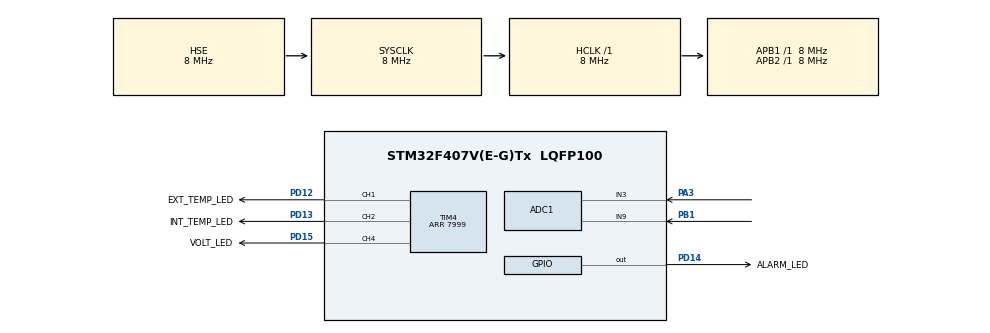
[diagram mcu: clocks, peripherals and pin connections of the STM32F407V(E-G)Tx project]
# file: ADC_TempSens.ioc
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ADC1.Channel-0\#ChannelRegularConversion=ADC_CHANNEL_3
ADC1.Channel-1\#ChannelInjectedConversion=ADC_CHANNEL_3
ADC1.Channel-2\#ChannelInjectedConversion=ADC_CHANNEL_9
ADC1.Channel-3\#ChannelInjectedConversion=ADC_CHANNEL_TEMPSENSOR
ADC1.ContinuousConvMode=ENABLE
ADC1.InjNumberOfConversion=3
ADC1.InjectedConvMode=None
ADC1.InjectedOffset-1\#ChannelInjectedConversion=0
ADC1.InjectedOffset-2\#ChannelInjectedConversion=0
ADC1.InjectedOffset-3\#ChannelInjectedConversion=0
ADC1.InjectedRank-1\#ChannelInjectedConversion=1
ADC1.InjectedRank-2\#ChannelInjectedConversion=2
ADC1.InjectedRank-3\#ChannelInjectedConversion=3
ADC1.NbrOfConversion=1
ADC1.NbrOfConversionFlag=1
ADC1.Rank-0\#ChannelRegularConversion=1
ADC1.SamplingTime-0\#ChannelRegularConversion=ADC_SAMPLETIME_3CYCLES
ADC1.SamplingTime-1\#ChannelInjectedConversion=ADC_SAMPLETIME_480CYCLES
ADC1.SamplingTime-2\#ChannelInjectedConversion=ADC_SAMPLETIME_480CYCLES
ADC1.SamplingTime-3\#ChannelInjectedConversion=ADC_SAMPLETIME_480CYCLES
ADC1.master=1
Mcu.Family=STM32F4
Mcu.Name=STM32F407V(E-G)Tx
Mcu.Package=LQFP100
NVIC.ADC_IRQn=true\:0\:0\:false\:false\:true\:true\:true
NVIC.PriorityGroup=NVIC_PRIORITYGROUP_4
NVIC.TIM1_TRG_COM_TIM11_IRQn=true\:0\:0\:false\:false\:true\:true\:true
NVIC.TIM4_IRQn=true\:0\:0\:false\:false\:true\:true\:true
PA13.Mode=Serial_Wire
PA13.Signal=SYS_JTMS-SWDIO
PA14.Mode=Serial_Wire
PA14.Signal=SYS_JTCK-SWCLK
PA3.Signal=ADCx_IN3
PB1.Signal=ADCx_IN9
PD12.GPIO_Label=EXT_TEMP_LED
PD12.Signal=S_TIM4_CH1
PD13.GPIO_Label=INT_TEMP_LED
PD13.Signal=S_TIM4_CH2
PD14.GPIO_Label=ALARM_LED
PD14.Signal=GPIO_Output
PD15.GPIO_Label=VOLT_LED
PD15.Signal=S_TIM4_CH4
PH0-OSC_IN.Mode=HSE-External-Oscillator
PH0-OSC_IN.Signal=RCC_OSC_IN
PH1-OSC_OUT.Mode=HSE-External-Oscillator
PH1-OSC_OUT.Signal=RCC_OSC_OUT
ProjectManager.HeapSize=0x200
ProjectManager.StackSize=0x400
ProjectManager.TargetToolchain=STM32CubeIDE
RCC.48MHZClocksFreq_Value=24000000
RCC.AHBFreq_Value=8000000
RCC.APB1Freq_Value=8000000
RCC.APB1TimFreq_Value=8000000
RCC.APB2Freq_Value=8000000
RCC.APB2TimFreq_Value=8000000
RCC.CortexFreq_Value=8000000
RCC.HCLKFreq_Value=8000000
RCC.HSE_VALUE=8000000
RCC.HSI_VALUE=16000000
RCC.LSE_VALUE=32768
RCC.PLLSourceVirtual=RCC_PLLSOURCE_HSE
RCC.SYSCLKFreq_VALUE=8000000
RCC.SYSCLKSource=RCC_SYSCLKSOURCE_HSE
RCC.VCOOutputFreq_Value=96000000
SH.ADCx_IN3.0=ADC1_IN3,IN3
SH.ADCx_IN9.0=ADC1_IN9,IN9
SH.S_TIM4_CH1.0=TIM4_CH1,PWM Generation1 CH1
SH.S_TIM4_CH2.0=TIM4_CH2,PWM Generation2 CH2
SH.S_TIM4_CH4.0=TIM4_CH4,PWM Generation4 CH4
TIM11.Period=0
TIM11.Prescaler=3999
TIM4.Channel-PWM\ Generation1\ CH1=TIM_CHANNEL_1
TIM4.Channel-PWM\ Generation2\ CH2=TIM_CHANNEL_2
TIM4.Channel-PWM\ Generation4\ CH4=TIM_CHANNEL_4
TIM4.Period=7999
VP_ADC1_TempSens_Input.Mode=IN-TempSens
VP_TIM11_VS_ClockSourceINT.Mode=Enable_Timer
board=custom

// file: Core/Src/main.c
/* USER CODE BEGIN Header */
/**
  ******************************************************************************
  * @file           : main.c
  * @brief          : Main program body
  ******************************************************************************
  * @attention
  *
  * <h2><center>&copy; Copyright (c) 2021 STMicroelectronics.
  * All rights reserved.</center></h2>
  *
  * This software component is licensed by ST under BSD 3-Clause license,
  * the "License"; You may not use this file except in compliance with the
  * License. You may obtain a copy of the License at:
  *                        opensource.org/licenses/BSD-3-Clause
  *
  ******************************************************************************
  */
/* USER CODE END Header */
#include "main.h"

/* USER CODE BEGIN PD */
#define PWM_FREQ 1000 //Constant frequency for timer 4 PWM Generation
#define CRIT_TEMP 40 //Critical temperature which causes ALARM_LED to blink
#define CRIT_VOLT_PERC 50 //Critical percentage of voltage which causes ALARM_LED to blink
//Variables for internal temperature sensor
#define Avg_Slope .0025
#define V_25 .76
#define VSENSE 3.0/4096

/* USER CODE END PD */

ADC_HandleTypeDef hadc1;

TIM_HandleTypeDef htim4;
TIM_HandleTypeDef htim11;

/* USER CODE BEGIN PV */
int CLOCK = 8000000;
int BLUE_DUTY = 0;
int ORANGE_DUTY = 0;
int GREEN_DUTY = 0;
float EXT_TEMP;
int INT_TEMP;
int ALARM_COUNT = 0;
int VOLT_ALARM = 0;
int EXT_TEMP_ALARM = 0;
int INT_TEMP_ALARM = 0;
uint32_t adcValue1;
uint32_t adcValue2;
uint32_t adcValue3;
/* USER CODE END PV */

void SystemClock_Config(void);
static void MX_GPIO_Init(void);
static void MX_ADC1_Init(void);
static void MX_TIM4_Init(void);
static void MX_TIM11_Init(void);
/* USER CODE BEGIN PFP */
void RecalculateVolt(uint32_t adcValue);
void MeasureExternalTemp(uint32_t adcValue);
void MeasureInternalTemp(uint32_t adcValue);
void CheckAlarm(void);
/* USER CODE END PFP */

int main(void)
{

  /* MCU Configuration--------------------------------------------------------*/

  /* Reset of all peripherals, Initializes the Flash interface and the Systick. */
  HAL_Init();

  /* Configure the system clock */
  SystemClock_Config();

  /* Initialize all configured peripherals */
  MX_GPIO_Init();
  MX_ADC1_Init();
  MX_TIM4_Init();
  MX_TIM11_Init();
  /* USER CODE BEGIN 2 */

  //HAL_TIM_Base_Start_IT(&htim11);

  HAL_TIM_PWM_Start(&htim4, TIM_CHANNEL_1);
  HAL_TIM_PWM_Start(&htim4, TIM_CHANNEL_2);
  HAL_TIM_PWM_Start(&htim4, TIM_CHANNEL_4);
  HAL_ADCEx_InjectedStart_IT(&hadc1);
  /* USER CODE END 2 */

  /* Infinite loop */
  /* USER CODE BEGIN WHILE */
  while (1)
  {
	  CheckAlarm();
	  RecalculateVolt(adcValue1);
	  MeasureInternalTemp(adcValue3);
	  MeasureExternalTemp(adcValue2);
	  HAL_ADCEx_InjectedStart_IT(&hadc1);
    /* USER CODE END WHILE */

  }
}

void SystemClock_Config(void)
{
  RCC_OscInitTypeDef RCC_OscInitStruct = {0};
  RCC_ClkInitTypeDef RCC_ClkInitStruct = {0};

  /** Configure the main internal regulator output voltage
  */
  __HAL_RCC_PWR_CLK_ENABLE();
  __HAL_PWR_VOLTAGESCALING_CONFIG(PWR_REGULATOR_VOLTAGE_SCALE1);
  /** Initializes the RCC Oscillators according to the specified parameters
  * in the RCC_OscInitTypeDef structure.
  */
  RCC_OscInitStruct.OscillatorType = RCC_OSCILLATORTYPE_HSE;
  RCC_OscInitStruct.HSEState = RCC_HSE_ON;
  RCC_OscInitStruct.PLL.PLLState = RCC_PLL_NONE;
  if (HAL_RCC_OscConfig(&RCC_OscInitStruct) != HAL_OK)
  {
    Error_Handler();
  }
  /** Initializes the CPU, AHB and APB buses clocks
  */
  RCC_ClkInitStruct.ClockType = RCC_CLOCKTYPE_HCLK|RCC_CLOCKTYPE_SYSCLK
                              |RCC_CLOCKTYPE_PCLK1|RCC_CLOCKTYPE_PCLK2;
  RCC_ClkInitStruct.SYSCLKSource = RCC_SYSCLKSOURCE_HSE;
  RCC_ClkInitStruct.AHBCLKDivider = RCC_SYSCLK_DIV1;
  RCC_ClkInitStruct.APB1CLKDivider = RCC_HCLK_DIV1;
  RCC_ClkInitStruct.APB2CLKDivider = RCC_HCLK_DIV1;

  if (HAL_RCC_ClockConfig(&RCC_ClkInitStruct, FLASH_LATENCY_0) != HAL_OK)
  {
    Error_Handler();
  }
}

static void MX_ADC1_Init(void)
{

  ADC_ChannelConfTypeDef sConfig = {0};
  ADC_InjectionConfTypeDef sConfigInjected = {0};

  /** Configure the global features of the ADC (Clock, Resolution, Data Alignment and number of conversion)
  */
  hadc1.Instance = ADC1;
  hadc1.Init.ClockPrescaler = ADC_CLOCK_SYNC_PCLK_DIV2;
  hadc1.Init.Resolution = ADC_RESOLUTION_12B;
  hadc1.Init.ScanConvMode = ENABLE;
  hadc1.Init.ContinuousConvMode = ENABLE;
  hadc1.Init.DiscontinuousConvMode = DISABLE;
  hadc1.Init.ExternalTrigConvEdge = ADC_EXTERNALTRIGCONVEDGE_NONE;
  hadc1.Init.ExternalTrigConv = ADC_SOFTWARE_START;
  hadc1.Init.DataAlign = ADC_DATAALIGN_RIGHT;
  hadc1.Init.NbrOfConversion = 1;
  hadc1.Init.DMAContinuousRequests = DISABLE;
  hadc1.Init.EOCSelection = ADC_EOC_SINGLE_CONV;
  if (HAL_ADC_Init(&hadc1) != HAL_OK)
  {
    Error_Handler();
  }
  /** Configure for the selected ADC regular channel its corresponding rank in the sequencer and its sample time.
  */
  sConfig.Channel = ADC_CHANNEL_3;
  sConfig.Rank = 1;
  sConfig.SamplingTime = ADC_SAMPLETIME_3CYCLES;
  if (HAL_ADC_ConfigChannel(&hadc1, &sConfig) != HAL_OK)
  {
    Error_Handler();
  }
  /** Configures for the selected ADC injected channel its corresponding rank in the sequencer and its sample time
  */
  sConfigInjected.InjectedChannel = ADC_CHANNEL_3;
  sConfigInjected.InjectedRank = 1;
  sConfigInjected.InjectedNbrOfConversion = 3;
  sConfigInjected.InjectedSamplingTime = ADC_SAMPLETIME_480CYCLES;
  sConfigInjected.ExternalTrigInjecConvEdge = ADC_EXTERNALTRIGINJECCONVEDGE_NONE;
  sConfigInjected.ExternalTrigInjecConv = ADC_INJECTED_SOFTWARE_START;
  sConfigInjected.AutoInjectedConv = DISABLE;
  sConfigInjected.InjectedDiscontinuousConvMode = DISABLE;
  sConfigInjected.InjectedOffset = 0;
  if (HAL_ADCEx_InjectedConfigChannel(&hadc1, &sConfigInjected) != HAL_OK)
  {
    Error_Handler();
  }
  /** Configures for the selected ADC injected channel its corresponding rank in the sequencer and its sample time
  */
  sConfigInjected.InjectedChannel = ADC_CHANNEL_9;
  sConfigInjected.InjectedRank = 2;
  if (HAL_ADCEx_InjectedConfigChannel(&hadc1, &sConfigInjected) != HAL_OK)
  {
    Error_Handler();
  }
  /** Configures for the selected ADC injected channel its corresponding rank in the sequencer and its sample time
  */
  sConfigInjected.InjectedChannel = ADC_CHANNEL_TEMPSENSOR;
  sConfigInjected.InjectedRank = 3;
  if (HAL_ADCEx_InjectedConfigChannel(&hadc1, &sConfigInjected) != HAL_OK)
  {
    Error_Handler();
  }

}

static void MX_TIM4_Init(void)
{

  TIM_MasterConfigTypeDef sMasterConfig = {0};
  TIM_OC_InitTypeDef sConfigOC = {0};

  htim4.Instance = TIM4;
  htim4.Init.Prescaler = 0;
  htim4.Init.CounterMode = TIM_COUNTERMODE_UP;
  htim4.Init.Period = 7999;
  htim4.Init.ClockDivision = TIM_CLOCKDIVISION_DIV1;
  htim4.Init.AutoReloadPreload = TIM_AUTORELOAD_PRELOAD_DISABLE;
  if (HAL_TIM_PWM_Init(&htim4) != HAL_OK)
  {
    Error_Handler();
  }
  sMasterConfig.MasterOutputTrigger = TIM_TRGO_RESET;
  sMasterConfig.MasterSlaveMode = TIM_MASTERSLAVEMODE_DISABLE;
  if (HAL_TIMEx_MasterConfigSynchronization(&htim4, &sMasterConfig) != HAL_OK)
  {
    Error_Handler();
  }
  sConfigOC.OCMode = TIM_OCMODE_PWM1;
  sConfigOC.Pulse = 0;
  sConfigOC.OCPolarity = TIM_OCPOLARITY_HIGH;
  sConfigOC.OCFastMode = TIM_OCFAST_DISABLE;
  if (HAL_TIM_PWM_ConfigChannel(&htim4, &sConfigOC, TIM_CHANNEL_1) != HAL_OK)
  {
    Error_Handler();
  }
  if (HAL_TIM_PWM_ConfigChannel(&htim4, &sConfigOC, TIM_CHANNEL_2) != HAL_OK)
  {
    Error_Handler();
  }
  if (HAL_TIM_PWM_ConfigChannel(&htim4, &sConfigOC, TIM_CHANNEL_4) != HAL_OK)
  {
    Error_Handler();
  }
  HAL_TIM_MspPostInit(&htim4);

}

static void MX_TIM11_Init(void)
{

  htim11.Instance = TIM11;
  htim11.Init.Prescaler = 3999;
  htim11.Init.CounterMode = TIM_COUNTERMODE_UP;
  htim11.Init.Period = 0;
  htim11.Init.ClockDivision = TIM_CLOCKDIVISION_DIV1;
  htim11.Init.AutoReloadPreload = TIM_AUTORELOAD_PRELOAD_DISABLE;
  if (HAL_TIM_Base_Init(&htim11) != HAL_OK)
  {
    Error_Handler();
  }

}

static void MX_GPIO_Init(void)
{
  GPIO_InitTypeDef GPIO_InitStruct = {0};

  /* GPIO Ports Clock Enable */
  __HAL_RCC_GPIOH_CLK_ENABLE();
  __HAL_RCC_GPIOA_CLK_ENABLE();
  __HAL_RCC_GPIOB_CLK_ENABLE();
  __HAL_RCC_GPIOD_CLK_ENABLE();

  /*Configure GPIO pin Output Level */
  HAL_GPIO_WritePin(ALARM_LED_GPIO_Port, ALARM_LED_Pin, GPIO_PIN_RESET);

  /*Configure GPIO pin : ALARM_LED_Pin */
  GPIO_InitStruct.Pin = ALARM_LED_Pin;
  GPIO_InitStruct.Mode = GPIO_MODE_OUTPUT_PP;
  GPIO_InitStruct.Pull = GPIO_NOPULL;
  GPIO_InitStruct.Speed = GPIO_SPEED_FREQ_LOW;
  HAL_GPIO_Init(ALARM_LED_GPIO_Port, &GPIO_InitStruct);

}

/* USER CODE BEGIN 4 */
void CheckAlarm(void)
{
	ALARM_COUNT = VOLT_ALARM + INT_TEMP_ALARM + EXT_TEMP_ALARM;
	if(ALARM_COUNT !=0)
	{
		 HAL_TIM_Base_Start_IT(&htim11);
		 switch(ALARM_COUNT)
		 {
		 	 case 1:
		 	{
		 	 TIM11->ARR= 999;
			 break;
		 	}
		 	case 2:
		 	{
		 	 TIM11->ARR= 399;
		 	 break;
		 	}
		 	case 3:
		 	{
		 	 TIM11->ARR= 199;
		 	 break;
		 	}
		 }
	}
	else
	{
		HAL_TIM_Base_Stop_IT(&htim11);
		HAL_GPIO_WritePin(GPIOD, ALARM_LED_Pin, RESET);
	}
}

void HAL_TIM_PeriodElapsedCallback(TIM_HandleTypeDef* htim)
{
	if(htim == &htim11)
	{
		HAL_GPIO_TogglePin(GPIOD, ALARM_LED_Pin);
	}
}

void RecalculateVolt(uint32_t adcValue)
{
	if(adcValue != 0)
	{
		BLUE_DUTY = ((adcValue*100)/4095);
		TIM4->ARR = (CLOCK/PWM_FREQ)-1;
		TIM4->CCR4 = ((TIM4->ARR + 1)/100) * BLUE_DUTY;
		VOLT_ALARM =(BLUE_DUTY > CRIT_VOLT_PERC)? 1 : 0 ;
	}
}

void MeasureInternalTemp(uint32_t adcValue)
{
	if(adcValue != 0)
	{
		INT_TEMP = ((VSENSE * adcValue - V_25) / Avg_Slope) + 25;
		ORANGE_DUTY = INT_TEMP;
		TIM4->ARR = (CLOCK/PWM_FREQ)-1;
		TIM4->CCR2 = ((TIM4->ARR + 1)/100) * ORANGE_DUTY;
		INT_TEMP_ALARM = (INT_TEMP > CRIT_TEMP)? 1 : 0 ;
	}
}

void MeasureExternalTemp(uint32_t adcValue)
{
	if(adcValue != 0)
	{
		EXT_TEMP = (-50 * VSENSE * adcValue) + 101; //Ext. temp. formula was found by approximation
		GREEN_DUTY = EXT_TEMP;
		TIM4->ARR = (CLOCK/PWM_FREQ)-1;
		TIM4->CCR1 = ((TIM4->ARR + 1)/100) * GREEN_DUTY;
		EXT_TEMP_ALARM = (EXT_TEMP > CRIT_TEMP)? 1 : 0 ;
	}
}

void HAL_ADCEx_InjectedConvCpltCallback(ADC_HandleTypeDef* hadc)
{
	if(hadc == &hadc1)
	{
	adcValue1 = HAL_ADCEx_InjectedGetValue(&hadc1,ADC_INJECTED_RANK_1);
	adcValue2 = HAL_ADCEx_InjectedGetValue(&hadc1,ADC_INJECTED_RANK_2);
	adcValue3 = HAL_ADCEx_InjectedGetValue(&hadc1,ADC_INJECTED_RANK_3);
	}
}
/* USER CODE END 4 */

void Error_Handler(void)
{
  __disable_irq();
  while (1)
  {
  }
}

/************************ (C) COPYRIGHT STMicroelectronics *****END OF FILE****/
